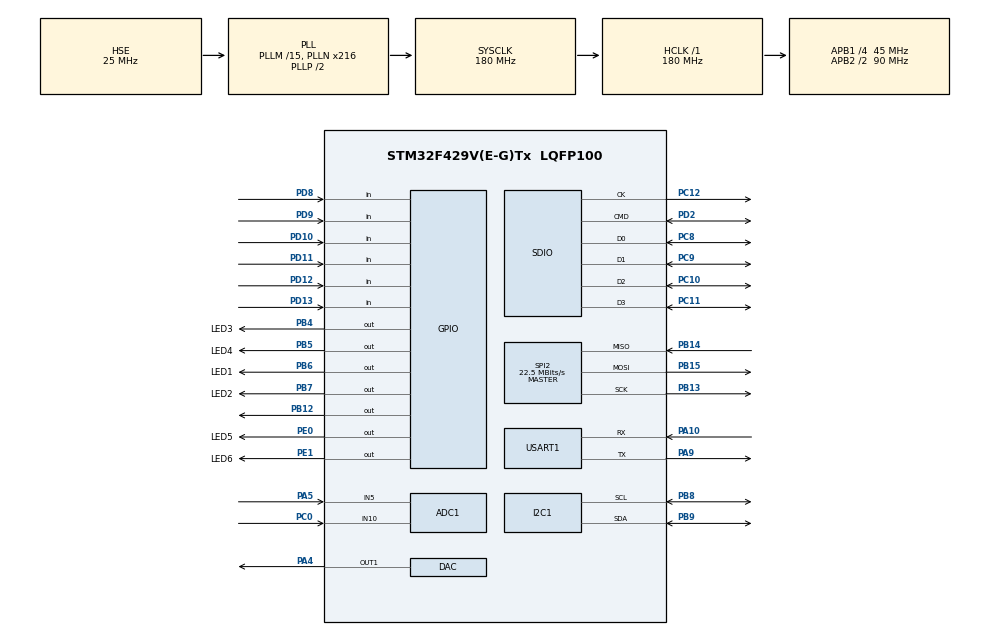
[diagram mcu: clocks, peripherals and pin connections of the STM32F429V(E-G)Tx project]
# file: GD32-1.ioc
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ADC1.Channel-1\#ChannelRegularConversion=ADC_CHANNEL_10
ADC1.ContinuousConvMode=ENABLE
ADC1.DMAContinuousRequests=ENABLE
ADC1.DiscontinuousConvMode=DISABLE
ADC1.ExternalTrigConv=ADC_SOFTWARE_START
ADC1.NbrOfConversion=1
ADC1.NbrOfConversionFlag=1
ADC1.Rank-1\#ChannelRegularConversion=1
ADC1.SamplingTime-1\#ChannelRegularConversion=ADC_SAMPLETIME_3CYCLES
ADC1.ScanConvMode=DISABLE
ADC1.master=1
DAC.DAC_Trigger=DAC_TRIGGER_T6_TRGO
Dma.ADC1.1.Direction=DMA_PERIPH_TO_MEMORY
Dma.ADC1.1.FIFOMode=DMA_FIFOMODE_DISABLE
Dma.ADC1.1.Instance=DMA2_Stream0
Dma.ADC1.1.MemDataAlignment=DMA_MDATAALIGN_WORD
Dma.ADC1.1.MemInc=DMA_MINC_ENABLE
Dma.ADC1.1.Mode=DMA_CIRCULAR
Dma.ADC1.1.PeriphDataAlignment=DMA_PDATAALIGN_WORD
Dma.ADC1.1.PeriphInc=DMA_PINC_DISABLE
Dma.ADC1.1.Priority=DMA_PRIORITY_LOW
Dma.DAC1.2.Direction=DMA_MEMORY_TO_PERIPH
Dma.DAC1.2.FIFOMode=DMA_FIFOMODE_DISABLE
Dma.DAC1.2.Instance=DMA1_Stream5
Dma.DAC1.2.MemDataAlignment=DMA_MDATAALIGN_HALFWORD
Dma.DAC1.2.MemInc=DMA_MINC_ENABLE
Dma.DAC1.2.Mode=DMA_CIRCULAR
Dma.DAC1.2.PeriphDataAlignment=DMA_PDATAALIGN_HALFWORD
Dma.DAC1.2.PeriphInc=DMA_PINC_DISABLE
Dma.DAC1.2.Priority=DMA_PRIORITY_LOW
Dma.Request0=USART1_RX
Dma.Request1=ADC1
Dma.Request2=DAC1
Dma.USART1_RX.0.Direction=DMA_PERIPH_TO_MEMORY
Dma.USART1_RX.0.FIFOMode=DMA_FIFOMODE_DISABLE
Dma.USART1_RX.0.Instance=DMA2_Stream2
Dma.USART1_RX.0.MemDataAlignment=DMA_MDATAALIGN_BYTE
Dma.USART1_RX.0.MemInc=DMA_MINC_ENABLE
Dma.USART1_RX.0.Mode=DMA_NORMAL
Dma.USART1_RX.0.PeriphDataAlignment=DMA_PDATAALIGN_BYTE
Dma.USART1_RX.0.PeriphInc=DMA_PINC_DISABLE
Dma.USART1_RX.0.Priority=DMA_PRIORITY_LOW
FATFS._CODE_PAGE=936
FATFS._USE_LFN=3
I2C1.I2C_Mode=I2C_Fast
Mcu.Family=STM32F4
Mcu.Name=STM32F429V(E-G)Tx
Mcu.Package=LQFP100
NVIC.DMA1_Stream5_IRQn=true\:0\:0\:false\:false\:true\:false\:true\:true
NVIC.DMA2_Stream0_IRQn=true\:0\:0\:false\:false\:true\:false\:true\:true
NVIC.DMA2_Stream2_IRQn=true\:0\:0\:false\:false\:true\:false\:true\:true
NVIC.PriorityGroup=NVIC_PRIORITYGROUP_4
NVIC.USART1_IRQn=true\:0\:0\:false\:false\:true\:true\:true\:true
PA10.Mode=Asynchronous
PA10.Signal=USART1_RX
PA13.Mode=Serial_Wire
PA13.Signal=SYS_JTMS-SWDIO
PA14.Mode=Serial_Wire
PA14.Signal=SYS_JTCK-SWCLK
PA4.Signal=COMP_DAC1_group
PA5.Signal=ADCx_IN5
PA9.Mode=Asynchronous
PA9.Signal=USART1_TX
PB12.GPIO_Speed=GPIO_SPEED_FREQ_HIGH
PB12.PinState=GPIO_PIN_SET
PB12.Signal=GPIO_Output
PB13.Mode=Full_Duplex_Master
PB13.Signal=SPI2_SCK
PB14.Mode=Full_Duplex_Master
PB14.Signal=SPI2_MISO
PB15.Mode=Full_Duplex_Master
PB15.Signal=SPI2_MOSI
PB4.GPIO_Label=LED3
PB4.Signal=GPIO_Output
PB5.GPIO_Label=LED4
PB5.Signal=GPIO_Output
PB6.GPIO_Label=LED1
PB6.Signal=GPIO_Output
PB7.GPIO_Label=LED2
PB7.Signal=GPIO_Output
PB8.Mode=I2C
PB8.Signal=I2C1_SCL
PB9.Mode=I2C
PB9.Signal=I2C1_SDA
PC0.Signal=ADCx_IN10
PC10.Mode=SD_4_bits_Wide_bus
PC10.Signal=SDIO_D2
PC11.Mode=SD_4_bits_Wide_bus
PC11.Signal=SDIO_D3
PC12.Mode=SD_4_bits_Wide_bus
PC12.Signal=SDIO_CK
PC14/OSC32_IN.Mode=LSE-External-Oscillator
PC14/OSC32_IN.Signal=RCC_OSC32_IN
PC15/OSC32_OUT.Mode=LSE-External-Oscillator
PC15/OSC32_OUT.Signal=RCC_OSC32_OUT
PC8.Mode=SD_4_bits_Wide_bus
PC8.Signal=SDIO_D0
PC9.Mode=SD_4_bits_Wide_bus
PC9.Signal=SDIO_D1
PD10.GPIO_PuPd=GPIO_PULLUP
PD10.Signal=GPIO_Input
PD11.GPIO_PuPd=GPIO_PULLUP
PD11.Signal=GPIO_Input
PD12.GPIO_PuPd=GPIO_PULLUP
PD12.Signal=GPIO_Input
PD13.GPIO_PuPd=GPIO_PULLUP
PD13.Signal=GPIO_Input
PD2.Mode=SD_4_bits_Wide_bus
PD2.Signal=SDIO_CMD
PD8.GPIO_PuPd=GPIO_PULLUP
PD8.Signal=GPIO_Input
PD9.GPIO_PuPd=GPIO_PULLUP
PD9.Signal=GPIO_Input
PE0.GPIO_Label=LED5
PE0.Signal=GPIO_Output
PE1.GPIO_Label=LED6
PE1.Signal=GPIO_Output
PH0/OSC_IN.Mode=HSE-External-Oscillator
PH0/OSC_IN.Signal=RCC_OSC_IN
PH1/OSC_OUT.Mode=HSE-External-Oscillator
PH1/OSC_OUT.Signal=RCC_OSC_OUT
ProjectManager.HeapSize=0x1000
ProjectManager.StackSize=0x2000
ProjectManager.TargetToolchain=MDK-ARM V5.32
RCC.48MHZClocksFreq_Value=45000000
RCC.AHBFreq_Value=180000000
RCC.APB1CLKDivider=RCC_HCLK_DIV4
RCC.APB1Freq_Value=45000000
RCC.APB1TimFreq_Value=90000000
RCC.APB2CLKDivider=RCC_HCLK_DIV2
RCC.APB2Freq_Value=90000000
RCC.APB2TimFreq_Value=180000000
RCC.CortexFreq_Value=180000000
RCC.HCLKFreq_Value=180000000
RCC.HSE_VALUE=25000000
RCC.HSI_VALUE=16000000
RCC.PLLM=15
RCC.PLLN=216
RCC.PLLQ=8
RCC.PLLSourceVirtual=RCC_PLLSOURCE_HSE
RCC.RCC_RTC_Clock_Source=RCC_RTCCLKSOURCE_LSE
RCC.RCC_RTC_Clock_SourceVirtual=RCC_RTCCLKSOURCE_LSE
RCC.SYSCLKFreq_VALUE=180000000
RCC.SYSCLKSource=RCC_SYSCLKSOURCE_PLLCLK
RCC.VCOOutputFreq_Value=360000000
SDIO.ClockDiv=6
SH.ADCx_IN10.0=ADC1_IN10,IN10
SH.ADCx_IN5.0=ADC1_IN5,IN5
SH.COMP_DAC1_group.0=DAC_OUT1,DAC_OUT1
SPI2.CLKPhase=SPI_PHASE_2EDGE
SPI2.CLKPolarity=SPI_POLARITY_HIGH
SPI2.CalculateBaudRate=22.5 MBits/s
SPI2.Direction=SPI_DIRECTION_2LINES
SPI2.Mode=SPI_MODE_MASTER
SPI2.VirtualType=VM_MASTER
TIM3.AutoReloadPreload=TIM_AUTORELOAD_PRELOAD_ENABLE
TIM3.Period=100-1
TIM3.Prescaler=180-1
TIM3.TIM_MasterOutputTrigger=TIM_TRGO_UPDATE
TIM6.AutoReloadPreload=TIM_AUTORELOAD_PRELOAD_ENABLE
TIM6.Period=100-1
TIM6.Prescaler=180-1
TIM6.TIM_MasterOutputTrigger=TIM_TRGO_UPDATE
USART1.VirtualMode=VM_ASYNC
VP_FATFS_VS_SDIO.Mode=SDIO
VP_RTC_VS_RTC_Activate.Mode=RTC_Enabled
VP_RTC_VS_RTC_Calendar.Mode=RTC_Calendar
VP_TIM3_VS_ClockSourceINT.Mode=Internal
VP_TIM6_VS_ClockSourceINT.Mode=Enable_Timer
board=custom

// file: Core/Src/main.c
/* USER CODE BEGIN Header */
/**
  ******************************************************************************
  * @file           : main.c
  * @brief          : Main program body
  ******************************************************************************
  * @attention
  *
  * Copyright (c) 2025 STMicroelectronics.
  * All rights reserved.
  *
  * This software is licensed under terms that can be found in the LICENSE file
  * in the root directory of this software component.
  * If no LICENSE file comes with this software, it is provided AS-IS.
  *
  ******************************************************************************
  */
/* USER CODE END Header */
#include "main.h"
#include "adc.h"
#include "dac.h"
#include "dma.h"
#include "fatfs.h"
#include "i2c.h"
#include "rtc.h"
#include "sdio.h"
#include "spi.h"
#include "tim.h"
#include "usart.h"
#include "gpio.h"

/* USER CODE BEGIN Includes */
#include "mydefine.h"
/* USER CODE END Includes */

void SystemClock_Config(void);

int main(void)
{

  /* MCU Configuration--------------------------------------------------------*/

  /* Reset of all peripherals, Initializes the Flash interface and the Systick. */
  HAL_Init();

  /* Configure the system clock */
  SystemClock_Config();

  /* Initialize all configured peripherals */
  MX_GPIO_Init();
  MX_DMA_Init();
  MX_USART1_UART_Init();
  MX_ADC1_Init();
  MX_DAC_Init();
  MX_TIM3_Init();
  MX_TIM6_Init();
  MX_I2C1_Init();
  MX_SPI2_Init();
  MX_RTC_Init();
  MX_SDIO_SD_Init();
  MX_FATFS_Init();
  /* USER CODE BEGIN 2 */
	// 基础外设初始化
	rt_ringbuffer_init(&uart_ringbuffer,ringbuffer_pool,sizeof(ringbuffer_pool));
	adc_dma_init();
	app_btn_init();
	OLED_Init();

	// 初始化SPI Flash驱动（不输出测试信息）
	spi_flash_init();

	// 初始化SD卡（挂载文件系统，不输出测试信息）
	f_mount(&SDFatFS, SDPath, 1);

	// ====system init==== （赛题要求1.1）
	my_printf(&huart1,"\r\n====system init====\r\n");

	// Flash参数管理初始化
	flash_param_init();

	// 从Flash中读取设备ID号（赛题要求1.2）
	my_printf(&huart1,"%s\r\n", flash_get_device_id());

	// SD卡存储初始化（创建4个数据文件夹）
	storage_init();

	// ====system ready==== （赛题要求格式）
	my_printf(&huart1,"====system ready====\r\n");

	// OLED显示"system idle"（赛题要求）
	Oled_printf(0, 0, "system idle");  // 第一行显示

	scheduler_init();
  /* USER CODE END 2 */

  /* Infinite loop */
  while (1)
  {

    /* USER CODE BEGIN 3 */
		scheduler_run();

  }
  /* USER CODE END 3 */
}

void SystemClock_Config(void)
{
  RCC_OscInitTypeDef RCC_OscInitStruct = {0};
  RCC_ClkInitTypeDef RCC_ClkInitStruct = {0};

  /** Configure the main internal regulator output voltage
  */
  __HAL_RCC_PWR_CLK_ENABLE();
  __HAL_PWR_VOLTAGESCALING_CONFIG(PWR_REGULATOR_VOLTAGE_SCALE1);

  /** Initializes the RCC Oscillators according to the specified parameters
  * in the RCC_OscInitTypeDef structure.
  */
  RCC_OscInitStruct.OscillatorType = RCC_OSCILLATORTYPE_HSE|RCC_OSCILLATORTYPE_LSE;
  RCC_OscInitStruct.HSEState = RCC_HSE_ON;
  RCC_OscInitStruct.LSEState = RCC_LSE_ON;
  RCC_OscInitStruct.PLL.PLLState = RCC_PLL_ON;
  RCC_OscInitStruct.PLL.PLLSource = RCC_PLLSOURCE_HSE;
  RCC_OscInitStruct.PLL.PLLM = 15;
  RCC_OscInitStruct.PLL.PLLN = 216;
  RCC_OscInitStruct.PLL.PLLP = RCC_PLLP_DIV2;
  RCC_OscInitStruct.PLL.PLLQ = 8;
  if (HAL_RCC_OscConfig(&RCC_OscInitStruct) != HAL_OK)
  {
    Error_Handler();
  }

  /** Activate the Over-Drive mode
  */
  if (HAL_PWREx_EnableOverDrive() != HAL_OK)
  {
    Error_Handler();
  }

  /** Initializes the CPU, AHB and APB buses clocks
  */
  RCC_ClkInitStruct.ClockType = RCC_CLOCKTYPE_HCLK|RCC_CLOCKTYPE_SYSCLK
                              |RCC_CLOCKTYPE_PCLK1|RCC_CLOCKTYPE_PCLK2;
  RCC_ClkInitStruct.SYSCLKSource = RCC_SYSCLKSOURCE_PLLCLK;
  RCC_ClkInitStruct.AHBCLKDivider = RCC_SYSCLK_DIV1;
  RCC_ClkInitStruct.APB1CLKDivider = RCC_HCLK_DIV4;
  RCC_ClkInitStruct.APB2CLKDivider = RCC_HCLK_DIV2;

  if (HAL_RCC_ClockConfig(&RCC_ClkInitStruct, FLASH_LATENCY_5) != HAL_OK)
  {
    Error_Handler();
  }
}

void Error_Handler(void)
{
  __disable_irq();
  while (1)
  {
  }
}
